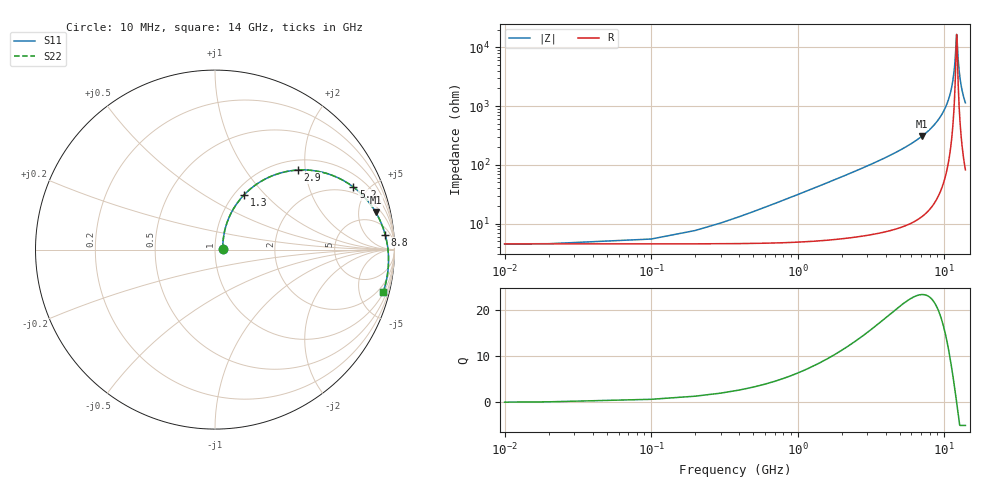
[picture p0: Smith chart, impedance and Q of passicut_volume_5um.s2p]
! Created with skrf 1.12.0 (http://scikit-rf.org).
# GHz S DB R 50.0
!freq dBS11 angS11 dBS21 angS21 dBS12 angS12 dBS22 angS22
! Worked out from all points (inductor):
!   142 points, 10 MHz to 14 GHz, reference 50 ohm
!   read as one part in series: L = 4.86 nH near 500 MHz
!   highest Q = 23.4 at 7.1 GHz (marker M1), where L = 6.94 nH
!   self-resonance near 12.2 GHz
!   S11 on the Smith chart (normalised r, x): 10 MHz: 1.09, +0.01; 1.3 GHz: 1.11, +0.77; 2.9 GHz: 1.21, +1.82; 5.2 GHz: 1.63, +4.00; 8.8 GHz: 10, +17; 14 GHz: 1.10, -7.90
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0.01  -27.32 3.5  -0.38 -0.2  -0.38 -0.2  -27.32 3.5
0.4  -18.62 62.7  -0.46 -7.1  -0.46 -7.1  -18.62 62.7
0.6  -15.41 66.1  -0.55 -10.5  -0.55 -10.5  -15.41 66.1
0.9  -12.12 65.7  -0.73 -15.4  -0.73 -15.4  -12.12 65.7
1.3  -9.22 62.0  -1.05 -21.7  -1.05 -21.7  -9.22 62.0
2.4  -4.96 49.2  -2.31 -36.9  -2.31 -36.9  -4.96 49.2
2.9  -3.88 43.8  -3.01 -42.8  -3.01 -42.8  -3.88 43.8
4.7  -1.77 27.9  -5.88 -59.5  -5.88 -59.5  -1.77 27.9
5.2  -1.45 24.4  -6.75 -63.2  -6.75 -63.2  -1.46 24.4
7.1  -0.73 13.1  -10.44 -74.6  -10.44 -74.6  -0.73 13.1
8.8  -0.43 5.1  -14.64 -82.3  -14.64 -82.3  -0.43 5.0
9.4  -0.37 2.5  -16.53 -84.5  -16.53 -84.5  -0.37 2.5
10.9  -0.28 -3.4  -23.61 -87.8  -23.61 -87.8  -0.28 -3.4
11.4  -0.26 -5.2  -27.88 -86.5  -27.88 -86.5  -0.26 -5.2
11.7  -0.26 -6.3  -31.87 -82.7  -31.87 -82.7  -0.26 -6.3
11.9  -0.26 -7.0  -35.92 -75.4  -35.92 -75.4  -0.26 -7.0
12.2  -0.26 -8.1  -44.72 -9.9  -44.72 -9.9  -0.26 -8.1
12.3  -0.26 -8.4  -42.59 30.4  -42.59 30.4  -0.26 -8.4
12.5  -0.26 -9.1  -36.27 59.0  -36.27 59.0  -0.26 -9.1
12.8  -0.26 -10.1  -30.73 68.6  -30.73 68.6  -0.26 -10.1
13.3  -0.27 -11.8  -25.66 71.9  -25.66 71.9  -0.27 -11.8
14  -0.30 -14.2  -21.54 71.9  -21.54 71.9  -0.30 -14.2
